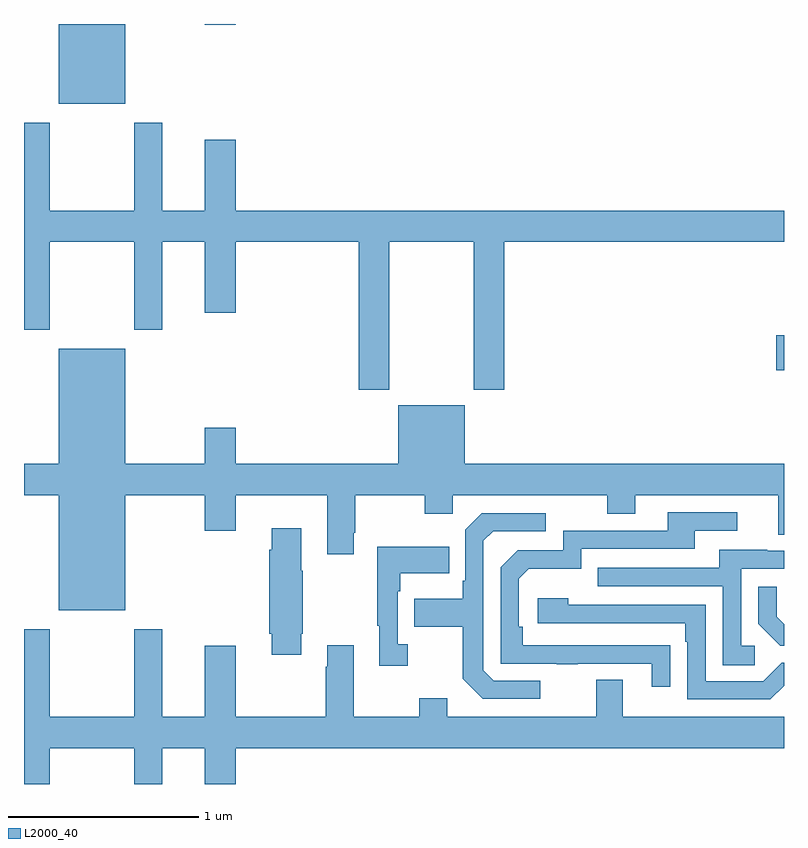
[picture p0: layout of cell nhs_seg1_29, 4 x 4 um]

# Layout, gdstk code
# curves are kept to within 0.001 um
import gdstk
lib = gdstk.Library(unit=1e-6, precision=1e-09)
def R(c, l, rs):  # rectangles x0, y0, x1, y1
    for r in rs: c.add(gdstk.rectangle(r[:2], r[2:], *l))
def P(c, l, *ps):  # polygons
    for p in ps: c.add(gdstk.Polygon(p, *l))
L2000_40 = (2000, 40)

nhs_seg1_29 = lib.new_cell('nhs_seg1_29')
R(nhs_seg1_29, L2000_40, [(114.96,564.377,115,564.56), (111.182,565.778,111.532,566.199), (111.95,566.196,112.114,566.199)])
P(nhs_seg1_29, L2000_40, [(112.923,565.052),(113.368,565.052),(113.368,564.273),(113.528,564.273),(113.528,565.052),(115,565.052),(115,565.216),(112.114,565.216),(112.114,565.591),(111.95,565.591),(111.95,565.216),(111.727,565.216),(111.727,565.678),(111.58,565.678),(111.58,565.216),(111.135,565.216),(111.135,565.678),(111,565.678),(111,564.591),(111.135,564.591),(111.135,565.052),(111.58,565.052),(111.58,564.591),(111.727,564.591),(111.727,565.052),(111.95,565.052),(111.95,564.678),(112.114,564.678),(112.114,565.052),(112.763,565.052),(112.763,564.273),(112.923,564.273)],
  [(111.532,563.72),(111.95,563.72),(111.95,563.532),(112.114,563.532),(112.114,563.72),(112.595,563.72),(112.595,563.409),(112.735,563.409),(112.735,563.521),(112.743,563.521),(112.743,563.72),(113.11,563.72),(113.11,563.621),(113.256,563.621),(113.256,563.72),(114.07,563.72),(114.07,563.621),(114.217,563.621),(114.217,563.72),(114.971,563.72),(114.971,563.512),(115,563.512),(115,563.884),(113.32,563.884),(113.32,564.193),(112.97,564.193),(112.97,563.884),(112.114,563.884),(112.114,564.073),(111.95,564.073),(111.95,563.884),(111.532,563.884),(111.532,564.49),(111.182,564.49),(111.182,563.884),(111,563.884),(111,563.72),(111.182,563.72),(111.182,563.114),(111.532,563.114)],
  [(114.401,562.928),(113.624,562.929),(113.624,563.026),(113.604,563.026),(113.604,563.28),(113.657,563.333),(113.934,563.333),(113.934,563.436),(114.529,563.436),(114.529,563.532),(114.754,563.532),(114.754,563.628),(114.389,563.628),(114.389,563.532),(113.838,563.532),(113.838,563.43),(113.598,563.43),(113.508,563.34),(113.508,562.833),(113.803,562.833),(113.803,562.828),(113.915,562.828),(113.915,562.833),(114.305,562.833),(114.305,562.71),(114.401,562.71)],
  [(113.716,562.743),(113.472,562.743),(113.418,562.797),(113.418,563.478),(113.469,563.529),(113.746,563.529),(113.746,563.625),(113.409,563.625),(113.322,563.538),(113.322,563.269),(113.31,563.269),(113.31,563.173),(113.053,563.173),(113.053,563.026),(113.31,563.026),(113.31,562.753),(113.415,562.647),(113.716,562.647)],
  [(112.459,562.99),(112.467,562.99),(112.467,563.321),(112.459,563.321),(112.459,563.545),(112.304,563.545),(112.304,563.432),(112.292,563.432),(112.292,562.99),(112.304,562.99),(112.304,562.878),(112.459,562.878)],
  [(113.02,562.934),(112.968,562.934),(112.968,563.213),(112.981,563.213),(112.981,563.309),(113.237,563.309),(113.237,563.449),(112.86,563.449),(112.86,563.033),(112.871,563.033),(112.871,562.821),(113.02,562.821)],
  [(114.847,562.926),(114.774,562.926),(114.774,563.331),(115,563.331),(115,563.427),(114.913,563.427),(114.913,563.431),(114.659,563.431),(114.659,563.337),(114.019,563.337),(114.019,563.241),(114.678,563.241),(114.678,562.825),(114.847,562.825)],
  [(115,563.04),(114.961,563.079),(114.961,563.236),(114.864,563.236),(114.864,563.042),(114.98,562.926),(115,562.926)],
  [(115,562.717),(115,562.836),(114.987,562.836),(114.891,562.74),(114.588,562.74),(114.588,563.142),(113.864,563.142),(113.864,563.176),(113.703,563.176),(113.703,563.046),(114.479,563.046),(114.479,562.949),(114.492,562.949),(114.492,562.644),(114.927,562.644)],
  [(111.135,562.388),(111.58,562.388),(111.58,562.199),(111.727,562.199),(111.727,562.388),(111.95,562.388),(111.95,562.199),(112.114,562.199),(112.114,562.388),(115,562.388),(115,562.552),(114.151,562.552),(114.151,562.747),(114.011,562.747),(114.011,562.552),(113.227,562.552),(113.227,562.651),(113.08,562.651),(113.08,562.552),(112.735,562.552),(112.735,562.93),(112.595,562.93),(112.595,562.817),(112.588,562.817),(112.588,562.552),(112.114,562.552),(112.114,562.927),(111.95,562.927),(111.95,562.552),(111.727,562.552),(111.727,563.014),(111.58,563.014),(111.58,562.552),(111.135,562.552),(111.135,563.014),(111,563.014),(111,562.199),(111.135,562.199)])

lib.write_gds('nhs_seg1_29.gds')
